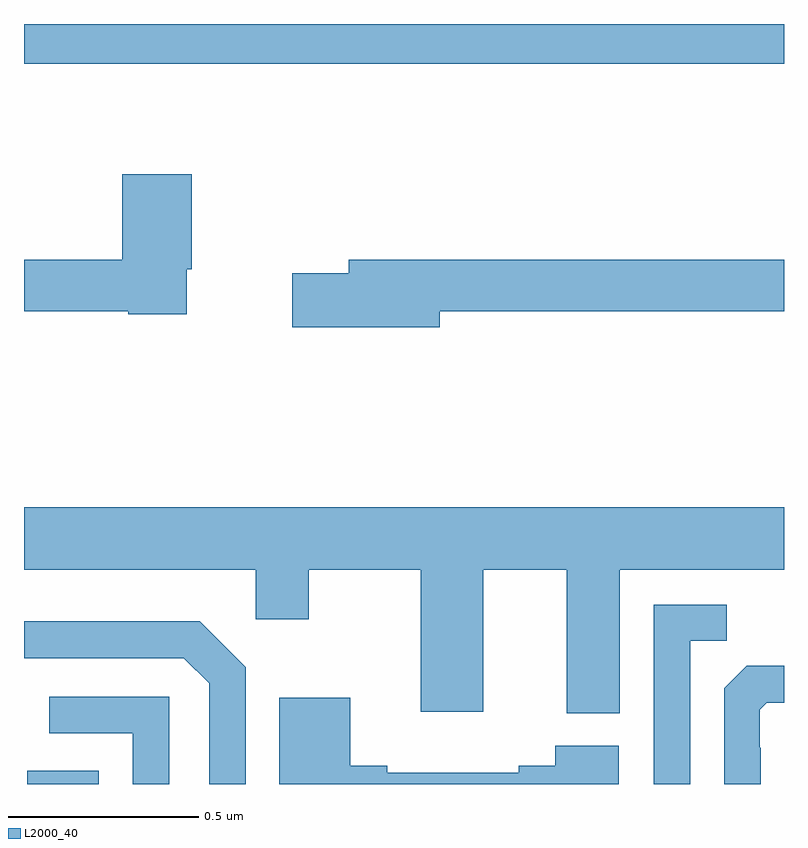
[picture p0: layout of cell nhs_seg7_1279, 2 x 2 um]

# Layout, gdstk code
import gdstk
lib = gdstk.Library(unit=1e-6, precision=1e-09)
def R(c, l, rs):  # rectangles x0, y0, x1, y1
    for r in rs: c.add(gdstk.rectangle(r[:2], r[2:], *l))
def P(c, l, *ps):  # polygons
    for p in ps: c.add(gdstk.Polygon(p, *l))
L2000_40 = (2000, 40)

nhs_seg7_1279 = lib.new_cell('nhs_seg7_1279')
R(nhs_seg7_1279, L2000_40, [(128.009,1052,128.197,1052.035), (128,1053.896,130,1054)])
P(nhs_seg7_1279, L2000_40, [(128.428,1053.355),(128.441,1053.355),(128.441,1053.604),(128.258,1053.604),(128.258,1053.38),(128,1053.38),(128,1053.244),(128.274,1053.244),(128.274,1053.236),(128.428,1053.236)],
  [(129.094,1053.244),(130,1053.244),(130,1053.38),(128.855,1053.38),(128.855,1053.344),(128.706,1053.344),(128.706,1053.202),(129.094,1053.202)],
  [(129.568,1052.564),(130,1052.564),(130,1052.728),(128,1052.728),(128,1052.564),(128.61,1052.564),(128.61,1052.433),(128.749,1052.433),(128.749,1052.564),(129.044,1052.564),(129.044,1052.19),(129.208,1052.19),(129.208,1052.564),(129.428,1052.564),(129.428,1052.186),(129.568,1052.186)],
  [(129.753,1052.377),(129.849,1052.377),(129.849,1052.472),(129.657,1052.472),(129.657,1052),(129.753,1052)],
  [(128.583,1052.307),(128.462,1052.428),(128,1052.428),(128,1052.331),(128.421,1052.331),(128.487,1052.265),(128.487,1052),(128.583,1052)],
  [(129.939,1052.096),(129.936,1052.096),(129.936,1052.196),(129.954,1052.214),(130,1052.214),(130,1052.311),(129.902,1052.311),(129.843,1052.252),(129.843,1052),(129.939,1052)],
  [(128.382,1052.229),(128.067,1052.229),(128.067,1052.133),(128.286,1052.133),(128.286,1052),(128.382,1052)],
  [(129.565,1052.101),(129.398,1052.101),(129.398,1052.048),(129.302,1052.048),(129.302,1052.029),(128.956,1052.029),(128.956,1052.048),(128.859,1052.048),(128.859,1052.227),(128.672,1052.227),(128.672,1052),(129.565,1052)])

lib.write_gds('nhs_seg7_1279.gds')
